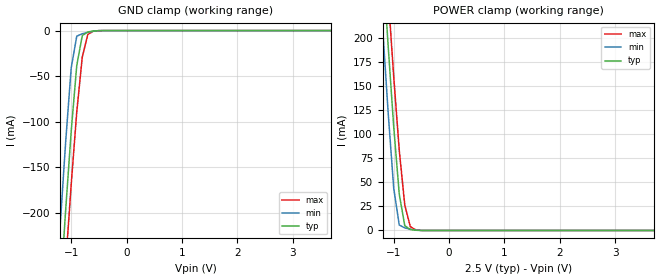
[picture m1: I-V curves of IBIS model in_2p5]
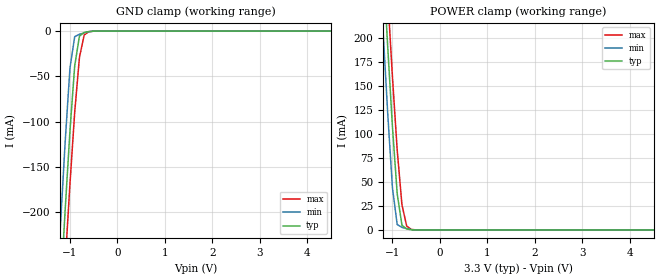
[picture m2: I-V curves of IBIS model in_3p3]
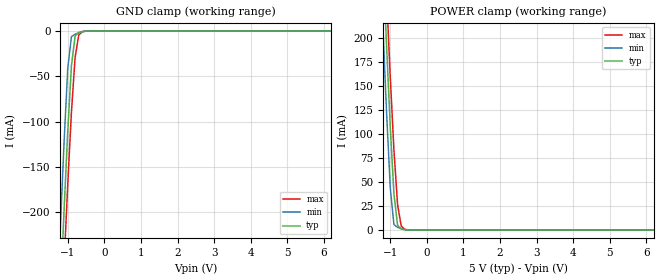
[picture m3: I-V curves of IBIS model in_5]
|Wuerth Elektronik eiSos GmbH & Co. KG
| High-Performance, 5kVRMS Reinforced Four Channel Digital Isolators.
| Marketing part#   Digital Voltage Range   Package-type   #pins
| 18014115401H   2.25V-5.5V   SOIC   16
| 18014115401L   2.25V-5.5V   SOIC   16
[IBIS Ver]   4.1
[File name]   18014115401X.ibs
[File Rev]   1.0
[Date]   1/9/2024
[Source]
| Wuerth Elektronik eiSos GmbH & Co. KG
| Max-Eyth-Strasse 1, 74638 Waldenburg, Germany
[Notes]   Revision History:
| Rev 1.0: 1/10/2024
| - Initial version of the model
[Disclaimer]
| This model is designed as an aid for customers of WE.
[Copyright]
(C)
|   18014115401H,18014115401L
[Component]   18014115401X
[Manufacturer]   WE
[Package]   |16 SOIC - SOIC Wide body package
|   typ   min   max
R_pkg   0.13   0.12   0.17
L_pkg   2.18nH   1.924nH   2.85nH
C_pkg   0.42pF   0.21pF   0.61pF
[Pin]  signal_name   model_name   R_pin   L_pin   C_pin
1   VCC1   POWER   0.09   2.25nH   0.63pF
2   GND1   GND   0.10   2.15nH   0.30pF
3   INA   IN   0.12   1.99nH   0.21pF
4   INB   IN   0.12   1.94nH   0.61pF
5   INC   IN   0.12   1.92nH   0.36pF
6   OUTD   OUT   0.14   2.18nH   0.43pF
7   EN1   EN   0.17   2.83nH   0.45pF
8   GND1   GND   0.08   2.43nH   0.44pF
9   GND2   GND   0.10   2.44nH   0.40pF
10   EN2   EN   0.17   2.85nH   0.52pF
11   IND   IN   0.12   1.99nH   0.50pF
12   OUTC   OUT   0.12   1.94nH   0.32pF
13   OUTB   OUT   0.12   1.92nH   0.37pF
14   OUTA   OUT   0.14   2.18nH   0.38pF
15   GND2   GND   0.08   2.09nH   0.75pF
16   VCC2   POWER   0.09   2.26nH   0.67pF
|   Model Selectors
[Model Selector] EN
en_2p5   2.5V digital Input
en_3p3   3.3V digital Input
en_5   5.0V digital Input
[Model Selector] IN
in_2p5   2.5V digital Input
in_3p3   3.3V digital Input
in_5   5.0V digital Input
[Model Selector] OUT
out_2p5   2.5V digital 3-state
out_3p3   3.3V digital 3-state
out_5   5.0V digital 3-state
| Models and submodels in the file (9): in_2p5 (Input), in_3p3 (Input), in_5 (Input), en_2p5 (Input), en_3p3 (Input), en_5 (Input), out_2p5 (3-state), out_3p3 (3-state), out_5 (3-state)
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|   in_2p5 Model
[Model]   in_2p5
Model_type   Input
Vinl = 0.75
Vinh = 1.75
|   typ   min   max
|   (nom PVT)   (fast PVT)   (slow PVT)
C_comp   3.281e-15   3.281e-15   3.250e-14
[Model spec]
|subparameter
Vinl   0.75   0.675   0.825
Vinh   1.75   1.575   1.925
| Where nom  PVT is Nominal Process, 2.5V, 27C
|   Fast PVT is Strong Process,  2.75V, -55C
|   Slow PVT is Weak Process,   2.25V, 150C
[Voltage Range]   2.5   2.25   2.75
|Ambient Temperature   25   125   -55
|Junction Temperature
[Temperature Range]   27   150   -55
[Power Clamp Reference]   2.5   2.25   2.75
[GND Clamp Reference]   0   0   0
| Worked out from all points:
|   GND clamp passes 1 mA (typ) near -0.65 V on its own axis
|   POWER clamp passes 1 mA (typ) near -0.70 V on its own axis
[GND Clamp]
-2.5V     -1.592A    -1.541A    -1.627A
-1.3V     -384.9mA   -311.3mA   -441.9mA
-1.2V     -289.3mA   -214.6mA   -347.9mA
-1.1V     -196.8mA   -121.8mA   -256.3mA
-1V       -110.3mA   -40.91mA   -168.9mA
-900mV    -38.4mA    -6.152mA   -89.52mA
-800mV    -5.474mA   -3.481mA   -29.01mA
-700mV    -1.531mA   -1.907mA   -4.308mA
-600mV    -532.3uA   -643.3uA   -627.8uA
5V        0A         0A         0A
[POWER Clamp]
-2.5V     1.53A      1.473A     1.57A
-1.2V     280.2mA    210.3mA    332.3mA
-1.1V     191.2mA    122mA      243.9mA
-1V       107.6mA    43.85mA    159.6mA
-900mV    37.75mA    5.657mA    83.35mA
-800mV    4.914mA    2.69mA     26.25mA
-700mV    1.001mA    1.317mA    3.987mA
-600mV    240.4uA    331.4uA    538.7uA
-500mV    21.06uA    14.62uA    50.53uA
5V        0A         0A         0A
[Model]   in_3p3
Model_type   Input
Vinl = 0.99
Vinh = 2.31
|   typ   min   max
|   (nom PVT)   (fast PVT)   (slow PVT)
C_comp   3.281e-15   3.281e-15   3.329e-14
[Model spec]
|subparameter
Vinl   0.99   0.891   1.089
Vinh   2.31   2.079   2.541
| Where nom  PVT is Nominal Process, 3.3V, 27C
|   Fast PVT is Strong Process,  3.63V, -55C
|   Slow PVT is Weak Process,   2.97V, 150C
[Voltage Range]   3.3   2.97   3.63
|Ambient Temperature   25   125   -55
|Junction Temperature
[Temperature Range]   27   150   -55
[Power Clamp Reference]   3.3   2.97   3.63
[GND Clamp Reference]   0   0   0
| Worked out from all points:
|   GND clamp passes 1 mA (typ) near -0.65 V on its own axis
|   POWER clamp passes 1 mA (typ) near -0.70 V on its own axis
[GND Clamp]
-3.3V     -2.412A    -2.377A    -2.435A
-1.3V     -384.9mA   -311.3mA   -441.9mA
-1.2V     -289.3mA   -214.6mA   -347.9mA
-1.1V     -196.8mA   -121.8mA   -256.3mA
-1V       -110.3mA   -40.91mA   -168.9mA
-900mV    -38.4mA    -6.152mA   -89.52mA
-800mV    -5.474mA   -3.481mA   -29.01mA
-700mV    -1.531mA   -1.907mA   -4.308mA
-600mV    -532.3uA   -643.3uA   -627.8uA
-500mV    -84.52uA   -60.81uA   -88.69uA
6.6V      0A         0A         0A
[POWER Clamp]
-3.3V     2.317A     2.267A     2.351A
-1.2V     280.2mA    210.3mA    332.3mA
-1.1V     191.2mA    122mA      243.9mA
-1V       107.6mA    43.85mA    159.6mA
-900mV    37.75mA    5.657mA    83.35mA
-800mV    4.914mA    2.69mA     26.25mA
-700mV    1.001mA    1.317mA    3.987mA
-600mV    240.4uA    331.4uA    538.7uA
-500mV    21.06uA    14.62uA    50.53uA
6.6V      0A         0A         0A
[Model]   in_5
Model_type   Input
Vinl = 1.5
Vinh = 3.5
|   typ   min   max
|   (nom PVT)   (fast PVT)   (slow PVT)
C_comp   3.281e-15   3.281e-15   3.455e-14
[Model spec]
|subparameter
Vinl   1.5   1.35   1.65
Vinh   3.5   3.15   3.85
| Where nom  PVT is Nominal Process, 5V, 27C
|   Fast PVT is Strong Process,  5.5V, -55C
|   Slow PVT is Weak Process,   4.5V, 150C
[Voltage Range]   5   4.5   5.5
|Ambient Temperature   25   125   -55
|Junction Temperature
[Temperature Range]   27   150   -55
[Power Clamp Reference]   5   4.5   5.5
[GND Clamp Reference]   0   0   0
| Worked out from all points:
|   GND clamp passes 1 mA (typ) near -0.65 V on its own axis
|   POWER clamp passes 1 mA (typ) near -0.70 V on its own axis
[GND Clamp]
-5V       -4.169A    -4.163A    -4.167A
-1.3V     -384.9mA   -311.3mA   -441.9mA
-1.2V     -289.3mA   -214.6mA   -347.9mA
-1.1V     -196.8mA   -121.8mA   -256.3mA
-1V       -110.3mA   -40.91mA   -168.9mA
-900mV    -38.4mA    -6.152mA   -89.52mA
-800mV    -5.474mA   -3.481mA   -29.01mA
-700mV    -1.531mA   -1.907mA   -4.308mA
-600mV    -532.3uA   -643.3uA   -627.8uA
-400mV    -5.865uA   -2.085uA   -8.245uA
10V       0A         0A         0A
[POWER Clamp]
-5V       4.002A     3.964A     4.027A
-1.2V     280.2mA    210.3mA    332.3mA
-1.1V     191.2mA    122mA      243.9mA
-1V       107.6mA    43.85mA    159.6mA
-900mV    37.75mA    5.657mA    83.35mA
-800mV    4.914mA    2.69mA     26.25mA
-700mV    1.001mA    1.317mA    3.987mA
-600mV    240.4uA    331.4uA    538.7uA
-400mV    965.3nA    161.1nA    3.632uA
10V       0A         0A         0A
